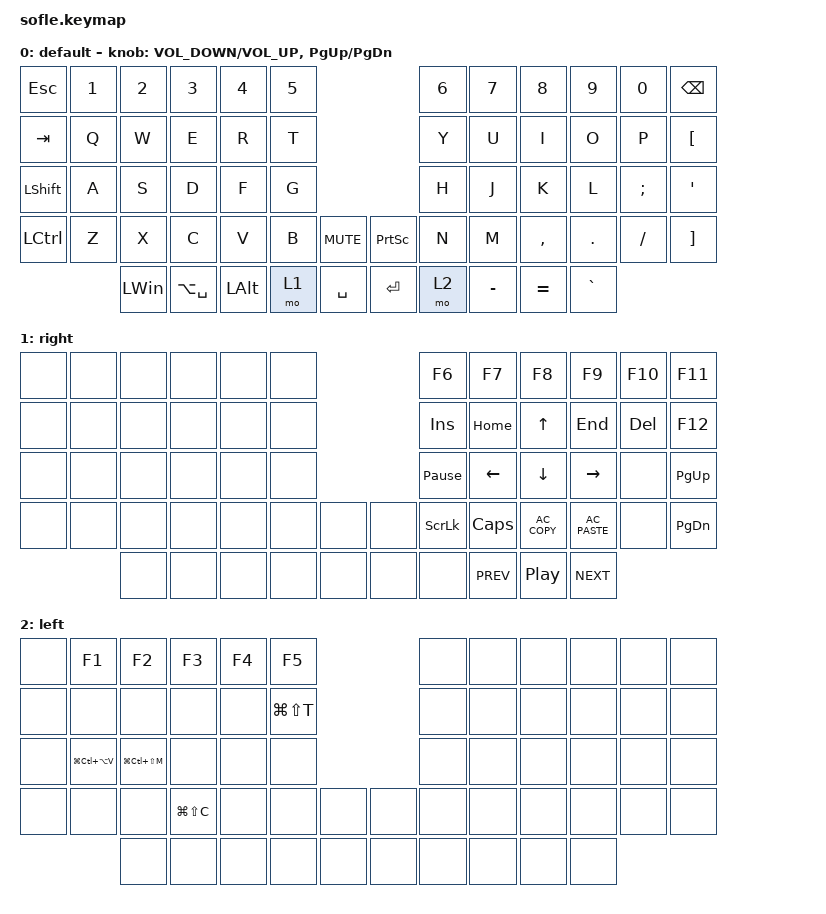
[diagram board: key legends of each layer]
/*
 * Copyright (c) 2020 The ZMK Contributors
 *
 * SPDX-License-Identifier: MIT
 */

#include <behaviors.dtsi>
#include <dt-bindings/zmk/keys.h>

#define BASE 0
#define LOWER 1
#define RAISE 2
#define ADJUST 3

/ {
    // Activate ADJUST layer by pressing raise and lower

    conditional_layers {
        compatible = "zmk,conditional-layers";

        adjust_layer {
            if-layers = <1 1>;
            then-layer = <1>;
        };
    };

    keymap {
        compatible = "zmk,keymap";

        default {
            display-name = "default";

            // ------------------------------------------------------------------------------------------------------------
            // |   `   |  1  |  2  |  3   |  4   |  5   |                   |  6   |  7    |  8    |  9   |   0   |       |
            // |  ESC  |  Q  |  W  |  E   |  R   |  T   |                   |  Y   |  U    |  I    |  O   |   P   | BKSPC |
            // |  TAB  |  A  |  S  |  D   |  F   |  G   |                   |  H   |  J    |  K    |  L   |   ;   |   '   |
            // | SHIFT |  Z  |  X  |  C   |  V   |  B   |  MUTE  |  |       |  N   |  M    |  ,    |  .   |   /   | SHIFT |
            //               | GUI | ALT  | CTRL | LOWER|  ENTER |  | SPACE | RAISE| CTRL  | ALT   | GUI  |

            bindings = <
&kp ESCAPE        &kp N1  &kp N2    &kp N3         &kp N4        &kp N5                                 &kp N6  &kp N7     &kp N8     &kp N9     &kp N0    &kp BACKSPACE
&kp TAB           &kp Q   &kp W     &kp E          &kp R         &kp T                                  &kp Y   &kp U      &kp I      &kp O      &kp P     &kp LBKT
&kp LEFT_SHIFT    &kp A   &kp S     &kp D          &kp F         &kp G                                  &kp H   &kp J      &kp K      &kp L      &kp SEMI  &kp SQT
&kp LEFT_CONTROL  &kp Z   &kp X     &kp C          &kp V         &kp B   &kp C_MUTE    &kp PRINTSCREEN  &kp N   &kp M      &kp COMMA  &kp DOT    &kp FSLH  &kp RBKT
                          &kp LWIN  &kp LA(SPACE)  &kp LEFT_ALT  &mo 1   &kp SPACE     &kp ENTER        &mo 2   &kp MINUS  &kp EQUAL  &kp GRAVE
            >;

            sensor-bindings =
                <&inc_dec_kp C_VOLUME_DOWN C_VOL_UP>,
                <&inc_dec_kp PG_UP PG_DN>;
        };

        right {
            bindings = <
&none  &none  &none  &none  &none  &none                  &kp F6           &kp F7        &kp F8         &kp F9          &kp F10     &kp F11
&none  &none  &none  &none  &none  &none                  &kp INSERT       &kp HOME      &kp UP_ARROW   &kp END         &kp DELETE  &kp F12
&none  &none  &none  &none  &none  &none                  &kp PAUSE_BREAK  &kp LEFT      &kp DOWN       &kp RIGHT       &none       &kp PG_UP
&none  &none  &none  &none  &none  &none  &none    &none  &kp SCROLLLOCK   &kp CAPSLOCK  &kp C_AC_COPY  &kp C_AC_PASTE  &none       &kp PAGE_DOWN
              &none  &none  &none  &none  &none    &none  &none            &kp C_PREV    &kp C_PP       &kp C_NEXT
            >;

            label = "right";
        };

        left {
            bindings = <
&none  &kp F1             &kp F2             &kp F3         &kp F4  &kp F5                         &none  &none  &none  &none  &none  &none
&none  &none              &none              &none          &none   &kp LG(LS(T))                  &none  &none  &none  &none  &none  &none
&none  &kp LG(LC(LA(V)))  &kp LG(LC(LS(M)))  &none          &none   &none                          &none  &none  &none  &none  &none  &none
&none  &none              &none              &kp LG(LS(C))  &none   &none          &none    &none  &none  &none  &none  &none  &none  &none
                          &none              &none          &none   &none          &none    &none  &none  &none  &none  &none
            >;

            label = "left";
        };
    };
};
